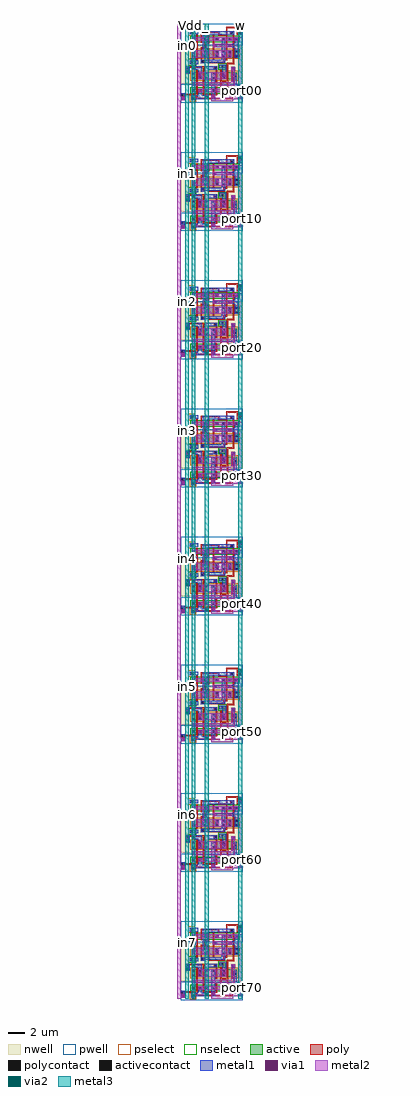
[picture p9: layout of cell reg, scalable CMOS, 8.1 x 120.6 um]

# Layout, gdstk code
import gdstk
lib = gdstk.Library(unit=1e-6, precision=1e-09)
def R(c, l, rs):  # rectangles x0, y0, x1, y1
    for r in rs: c.add(gdstk.rectangle(r[:2], r[2:], *l))
def A(c, l, x, y, w, h, nx, ny, dx, dy):  # array of equal rectangles
    R(c, l, [(x+i*dx, y+j*dy, x+i*dx+w, y+j*dy+h) for i in range(nx) for j in range(ny)])
pwell = (41, 0)
nwell = (42, 0)
active = (43, 0)
pselect = (44, 0)
nselect = (45, 0)
poly = (46, 0)
polycontact = (47, 0)
activecontact = (48, 0)
metal1 = (49, 0)
via1 = (50, 0)
metal2 = (51, 0)
via2 = (61, 0)
metal3 = (62, 0)

reg_one = lib.new_cell('reg_one')
R(reg_one, pwell, [(-0.99,-2.43,6.66,-0.18), (-0.99,4.68,6.66,7.29)])
R(reg_one, nwell, [(-0.99,-0.09,6.66,4.59)])
R(reg_one, active, [(0.27,-2.16,0.72,-1.71), (0.36,-1.17,2.43,-0.72), (2.79,-1.17,5.94,-0.72), (0.36,0.45,2.43,1.35), (2.79,0.45,5.94,1.35), (3.78,1.8,4.5,2.25), (0.09,2.34,0.72,2.79), (0.36,3.15,3.69,4.05), (4.05,3.15,6.12,4.05), (0.36,5.22,3.69,5.67), (4.05,5.22,6.12,5.67), (0.09,6.03,0.63,6.48)])
R(reg_one, pselect, [(0.09,-2.34,0.9,-1.53), (0.18,0.27,6.12,1.53), (0.18,2.97,6.3,4.23), (-0.09,5.85,0.81,6.66)])
R(reg_one, nselect, [(0.18,-1.35,6.12,-0.54), (3.6,1.62,4.68,2.43), (-0.09,2.16,0.9,2.97), (0.18,5.04,6.3,5.85)])
R(reg_one, poly, [(0.9,-1.98,5.4,-1.8), (0.9,-1.8,1.08,-1.53), (5.22,-1.8,5.4,-0.45), (-0.99,-1.71,-0.54,-1.53), (-0.99,-1.53,1.08,-1.35), (1.71,-1.53,3.51,-1.35), (3.87,-1.44,4.05,0.09), (4.68,-1.44,4.86,0.09), (-0.99,-1.35,-0.54,-1.26), (0.9,-1.35,1.08,1.62), (1.71,-1.35,1.89,1.89), (3.33,-1.35,3.51,-0.45), (3.87,0.09,4.86,0.27), (3.33,0.18,3.51,1.62), (5.22,0.18,5.4,1.53), (3.87,0.27,4.05,1.62), (4.68,0.27,4.86,2.34), (5.22,1.53,5.76,1.71), (-0.36,1.62,0.09,1.89), (3.06,1.62,3.51,2.07), (5.31,1.71,5.76,1.98), (-0.36,1.89,1.89,2.07), (4.68,2.34,5.58,2.52), (1.44,2.43,1.89,2.88), (2.34,2.43,4.41,2.61), (5.4,2.52,5.58,5.94), (2.34,2.61,2.52,4.32), (4.23,2.61,4.41,2.79), (4.23,2.79,4.77,2.97), (0.9,2.88,1.08,4.41), (1.44,2.88,1.62,4.23), (2.97,2.88,3.15,4.41), (4.59,2.97,4.77,5.85), (1.44,4.23,2.07,4.41), (0.45,4.41,1.08,4.86), (1.89,4.41,2.07,4.86), (2.97,4.41,3.42,4.86), (0.9,4.86,1.08,5.94), (1.89,4.86,2.52,5.04), (2.97,4.86,3.15,5.94), (1.44,4.95,1.62,6.21), (2.34,5.04,2.52,5.94), (3.6,5.85,4.77,6.03), (5.13,5.94,5.58,6.39), (5.94,5.94,6.57,6.39), (3.6,6.03,3.78,6.21), (4.59,6.03,4.77,6.75), (1.44,6.21,3.78,6.39), (5.94,6.39,6.12,6.75), (4.59,6.75,6.12,6.93)])
R(reg_one, polycontact, [(-0.855,-1.575,-0.675,-1.395), (5.445,1.665,5.625,1.845), (-0.225,1.755,-0.045,1.935), (3.195,1.755,3.375,1.935), (1.575,2.565,1.755,2.745), (0.585,4.545,0.765,4.725), (3.105,4.545,3.285,4.725), (5.265,6.075,5.445,6.255), (6.255,6.075,6.435,6.255)])
A(reg_one, activecontact, 0.495, -1.035, 0.18, 0.18, 4, 2, 0.81, 1.575)
A(reg_one, activecontact, 0.495, 1.08, 0.18, 0.18, 4, 1, 0.81, 0)
A(reg_one, activecontact, 3.375, 3.24, 0.18, 0.18, 4, 2, 0.81, 0.54)
A(reg_one, activecontact, 3.375, 5.355, 0.18, 0.18, 4, 1, 0.81, 0)
R(reg_one, activecontact, [(0.405,-2.025,0.585,-1.845), (4.275,-1.035,4.455,-0.855), (5.625,-1.035,5.805,-0.855), (4.275,0.54,4.455,0.72), (5.625,0.72,5.805,0.9), (4.275,1.08,4.455,1.26), (4.05,1.935,4.23,2.115), (0.315,2.475,0.495,2.655), (0.495,3.24,0.675,3.42), (1.89,3.24,2.07,3.42), (0.495,3.78,0.675,3.96), (1.89,3.78,2.07,3.96), (0.495,5.355,0.675,5.535), (1.89,5.355,2.07,5.535), (0.27,6.165,0.45,6.345)])
R(reg_one, metal1, [(-0.99,-2.16,-0.54,-1.26), (0.27,-2.16,0.72,-1.98), (0.27,-1.98,2.43,-1.53), (2.79,-1.98,3.24,1.35), (6.03,-1.98,6.66,-1.53), (1.17,-1.53,1.62,-0.72), (0.36,-1.17,0.81,1.35), (1.98,-1.17,2.43,1.62), (4.14,-1.17,4.59,-0.72), (5.49,-1.17,5.94,-0.72), (6.21,-1.17,6.66,-0.72), (5.49,-0.72,6.66,-0.27), (5.49,-0.27,5.94,1.17), (1.17,0.45,1.62,1.62), (4.14,0.45,4.59,1.8), (-0.45,1.17,0.09,1.62), (5.31,1.53,5.76,1.98), (-0.36,1.62,0.09,2.07), (0.36,1.62,1.62,2.07), (1.98,1.62,3.51,2.07), (3.78,1.8,4.59,2.25), (0.36,2.07,0.81,2.34), (0.09,2.34,1.17,2.79), (1.44,2.43,1.89,2.52), (1.44,2.52,4.5,2.88), (0.36,2.79,0.81,4.05), (4.05,2.88,4.5,5.67), (1.71,3.15,2.25,5.94), (3.24,3.15,3.69,4.05), (4.86,3.15,5.31,4.05), (5.67,3.15,6.12,4.41), (-0.99,4.41,0.9,4.86), (2.97,4.41,3.42,4.86), (4.86,4.41,6.12,4.86), (5.67,4.86,6.12,5.67), (0.36,5.22,0.81,6.03), (3.24,5.22,3.69,5.67), (4.86,5.22,5.31,5.67), (1.71,5.94,5.58,6.39), (6.12,5.94,6.57,6.84), (0.09,6.03,1.17,6.48)])
R(reg_one, via1, [(-0.9,-2.07,-0.63,-1.8), (2.07,-1.89,2.34,-1.62), (2.88,-1.89,3.15,-1.62), (6.12,-1.89,6.39,-1.62), (1.26,-1.08,1.53,-0.81), (4.23,-1.08,4.5,-0.81), (0.45,-0.27,0.72,0), (1.26,0.765,1.53,1.035), (4.23,0.765,4.5,1.035), (-0.36,1.26,-0.09,1.53), (5.4,1.62,5.67,1.89), (0.45,1.71,0.72,1.98), (0.45,3.465,0.72,3.735), (3.33,3.465,3.6,3.735), (4.95,3.465,5.22,3.735), (3.06,4.5,3.33,4.77), (4.95,4.5,5.22,4.77), (0.45,5.31,0.72,5.58), (3.33,5.31,3.6,5.58), (4.95,5.31,5.22,5.58), (6.21,6.48,6.48,6.75)])
R(reg_one, metal2, [(2.79,-2.25,5.49,-1.98), (-0.99,-2.16,-0.54,-1.71), (1.98,-1.98,2.43,-1.53), (2.79,-1.98,6.48,-1.8), (2.79,-1.8,3.24,-1.53), (5.04,-1.8,6.48,-1.53), (1.17,-1.17,6.57,-0.72), (6.12,-0.72,6.57,5.22), (0.36,-0.36,5.67,0.09), (5.22,0.09,5.67,1.53), (1.17,0.45,4.59,1.35), (-0.45,1.17,0,1.62), (5.22,1.53,5.76,1.98), (0.36,1.62,0.81,2.07), (0.36,3.15,5.31,4.05), (2.97,4.41,5.31,4.86), (0.36,5.22,6.57,5.67), (6.12,6.39,6.57,6.84)])
R(reg_one, via2, [(2.07,-1.89,2.34,-1.62), (-0.36,1.26,-0.09,1.53), (0.45,1.71,0.72,1.98), (6.21,6.48,6.48,6.75)])
R(reg_one, metal3, [(1.98,-1.98,2.43,-1.53), (-0.45,1.17,0,1.62), (0.36,1.62,0.81,2.07), (6.12,6.39,6.57,6.84)])
reg_one.add(gdstk.Label('in', (0.99,4.59), layer=46, texttype=0))
reg_one.add(gdstk.Label('r0', (0.99,-0.18), layer=46, texttype=0))
reg_one.add(gdstk.Label('r1', (1.8,-0.18), layer=46, texttype=0))
reg_one.add(gdstk.Label('w', (1.53,6.3), layer=46, texttype=0))
reg_one.add(gdstk.Label('Vdd_', (0.54,2.52), layer=49, texttype=0))
reg_one.add(gdstk.Label('port0', (5.67,-0.54), layer=49, texttype=0))
reg_one.add(gdstk.Label('port1', (3.06,-0.54), layer=49, texttype=0))
reg_one.add(gdstk.Label('tmp', (5.04,6.12), layer=49, texttype=0))

reg = lib.new_cell('reg')
A(reg, metal1, -1.26, -29.16, 1.35, 0.45, 1, 8, 0, 15.84)
R(reg, metal1, [(6.75,-35.55,6.84,-35.1), (6.75,-34.74,6.84,-34.29), (6.75,-19.71,6.84,-19.26), (6.75,-18.9,6.84,-18.45), (6.75,-3.87,6.84,-3.42), (6.75,-3.06,6.84,-2.61), (6.75,11.97,6.84,12.42), (6.75,12.78,6.84,13.23), (6.75,27.81,6.84,28.26), (6.75,28.62,6.84,29.07), (6.75,43.65,6.84,44.1), (6.75,44.46,6.84,44.91), (6.75,59.49,6.84,59.94), (6.75,60.3,6.84,60.75), (6.75,75.33,6.84,75.78), (6.75,76.14,6.84,76.59)])
R(reg, metal2, [(-1.26,-35.82,-0.81,84.6)])
R(reg, metal3, [(-0.27,-35.82,0.18,84.6), (0.54,-35.82,0.99,84.6), (2.16,-35.82,2.61,84.6), (6.3,-35.82,6.75,84.6)])
reg.add(gdstk.Reference(reg_one, (0.18,-33.57)))
reg.add(gdstk.Reference(reg_one, (0.18,-1.89)))
reg.add(gdstk.Reference(reg_one, (0.18,-17.73)))
reg.add(gdstk.Reference(reg_one, (0.18,13.95)))
reg.add(gdstk.Reference(reg_one, (0.18,45.63)))
reg.add(gdstk.Reference(reg_one, (0.18,77.31)))
reg.add(gdstk.Reference(reg_one, (0.18,61.47)))
reg.add(gdstk.Reference(reg_one, (0.18,29.79)))
reg.add(gdstk.Label('port40', (6.795,13.005), layer=49, texttype=0))
reg.add(gdstk.Label('port41', (6.795,12.195), layer=49, texttype=0))
reg.add(gdstk.Label('in4', (-0.045,18.585), layer=49, texttype=0))
reg.add(gdstk.Label('port30', (6.795,28.845), layer=49, texttype=0))
reg.add(gdstk.Label('port31', (6.795,28.035), layer=49, texttype=0))
reg.add(gdstk.Label('in3', (-0.045,34.425), layer=49, texttype=0))
reg.add(gdstk.Label('port20', (6.795,44.685), layer=49, texttype=0))
reg.add(gdstk.Label('port21', (6.795,43.875), layer=49, texttype=0))
reg.add(gdstk.Label('in2', (-0.045,50.265), layer=49, texttype=0))
reg.add(gdstk.Label('port10', (6.795,60.525), layer=49, texttype=0))
reg.add(gdstk.Label('port11', (6.795,59.715), layer=49, texttype=0))
reg.add(gdstk.Label('in1', (-0.045,66.105), layer=49, texttype=0))
reg.add(gdstk.Label('port00', (6.795,76.365), layer=49, texttype=0))
reg.add(gdstk.Label('port01', (6.795,75.555), layer=49, texttype=0))
reg.add(gdstk.Label('Vdd_', (0.765,84.375), layer=62, texttype=0))
reg.add(gdstk.Label('GND_', (2.385,84.375), layer=62, texttype=0))
reg.add(gdstk.Label('in0', (-0.045,81.945), layer=49, texttype=0))
reg.add(gdstk.Label('w', (6.525,84.375), layer=62, texttype=0))
reg.add(gdstk.Label('r1', (-0.045,84.375), layer=62, texttype=0))
reg.add(gdstk.Label('r0', (-1.035,84.375), layer=51, texttype=0))
reg.add(gdstk.Label('port70', (6.795,-34.515), layer=49, texttype=0))
reg.add(gdstk.Label('port71', (6.795,-35.325), layer=49, texttype=0))
reg.add(gdstk.Label('in7', (-0.045,-28.935), layer=49, texttype=0))
reg.add(gdstk.Label('port60', (6.795,-18.675), layer=49, texttype=0))
reg.add(gdstk.Label('port61', (6.795,-19.485), layer=49, texttype=0))
reg.add(gdstk.Label('in6', (-0.045,-13.095), layer=49, texttype=0))
reg.add(gdstk.Label('port50', (6.795,-2.835), layer=49, texttype=0))
reg.add(gdstk.Label('port51', (6.795,-3.645), layer=49, texttype=0))
reg.add(gdstk.Label('in5', (-0.045,2.745), layer=49, texttype=0))

lib.write_gds('reg.gds')
